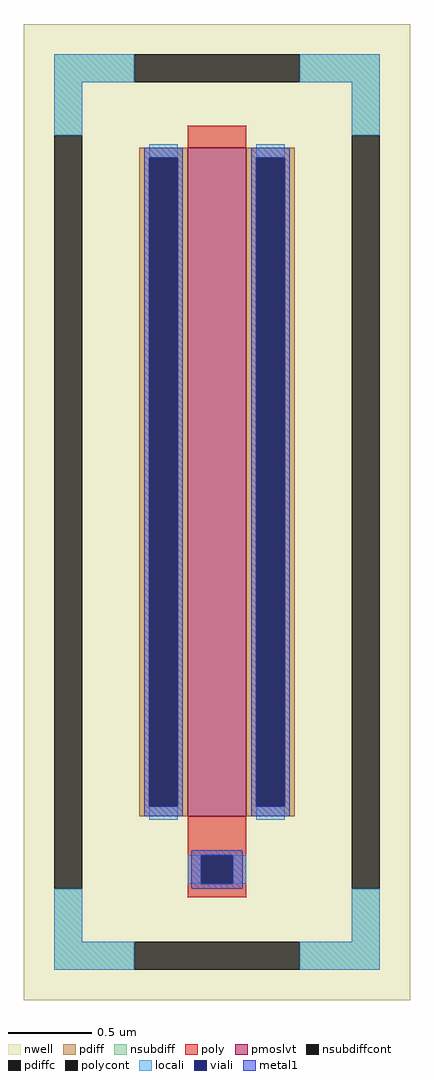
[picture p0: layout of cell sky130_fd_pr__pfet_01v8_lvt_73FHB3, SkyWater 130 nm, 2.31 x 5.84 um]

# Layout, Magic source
magic
tech sky130A
magscale 1 2
<< nwell >>
rect -231 -584 231 584
<< pmoslvt >>
rect -35 -364 35 436
<< pdiff >>
rect -93 424 -35 436
rect -93 -352 -81 424
rect -47 -352 -35 424
rect -93 -364 -35 -352
rect 35 424 93 436
rect 35 -352 47 424
rect 81 -352 93 424
rect 35 -364 93 -352
<< pdiffc >>
rect -81 -352 -47 424
rect 47 -352 81 424
<< nsubdiff >>
rect -195 514 -99 548
rect 99 514 195 548
rect -195 451 -161 514
rect 161 451 195 514
rect -195 -514 -161 -451
rect 161 -514 195 -451
rect -195 -548 -99 -514
rect 99 -548 195 -514
<< nsubdiffcont >>
rect -99 514 99 548
rect -195 -451 -161 451
rect 161 -451 195 451
rect -99 -548 99 -514
<< poly >>
rect -35 436 35 462
rect -35 -411 35 -364
rect -35 -445 -19 -411
rect 19 -445 35 -411
rect -35 -461 35 -445
<< polycont >>
rect -19 -445 19 -411
<< locali >>
rect -195 514 -99 548
rect 99 514 195 548
rect -195 451 -161 514
rect 161 451 195 514
rect -81 424 -47 440
rect -81 -368 -47 -352
rect 47 424 81 440
rect 47 -368 81 -352
rect -35 -445 -19 -411
rect 19 -445 35 -411
rect -195 -514 -161 -451
rect 161 -514 195 -451
rect -195 -548 -99 -514
rect 99 -548 195 -514
<< viali >>
rect -81 -352 -47 424
rect 47 -352 81 424
rect -19 -445 19 -411
<< metal1 >>
rect -87 424 -41 436
rect -87 -352 -81 424
rect -47 -352 -41 424
rect -87 -364 -41 -352
rect 41 424 87 436
rect 41 -352 47 424
rect 81 -352 87 424
rect 41 -364 87 -352
rect -31 -411 31 -405
rect -31 -445 -19 -411
rect 19 -445 31 -411
rect -31 -451 31 -445
<< properties >>
string FIXED_BBOX -178 -531 178 531
string gencell sky130_fd_pr__pfet_01v8_lvt
string library sky130
string parameters w 4.0 l 0.35 m 1 nf 1 diffcov 100 polycov 100 guard 1 glc 1 grc 1 gtc 1 gbc 1 tbcov 100 rlcov 100 topc 0 botc 1 poverlap 0 doverlap 1 lmin 0.35 wmin 0.42 compatible {sky130_fd_pr__pfet_01v8  sky130_fd_pr__pfet_01v8_lvt sky130_fd_pr__pfet_01v8_hvt  sky130_fd_pr__pfet_g5v0d10v5} full_metal 1 viasrc 100 viadrn 100 viagate 100 viagb 0 viagr 0 viagl 0 viagt 0
<< end >>
